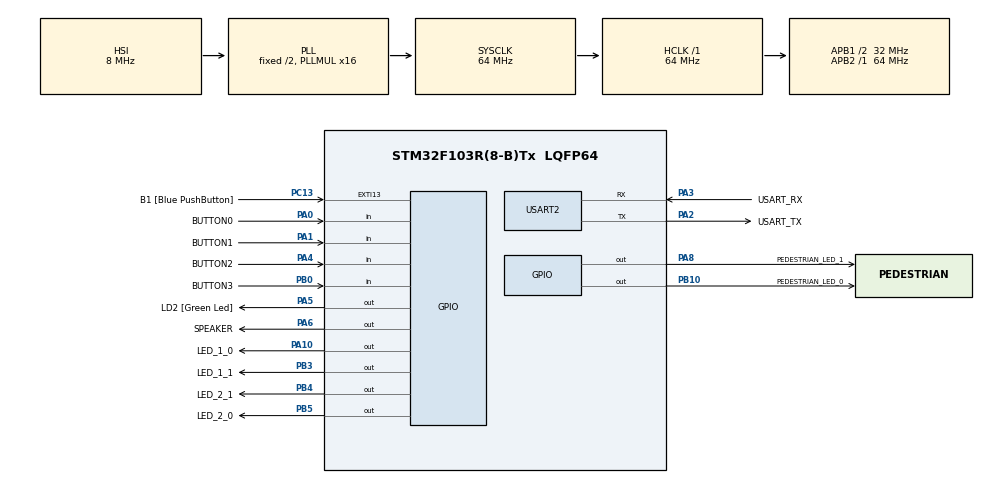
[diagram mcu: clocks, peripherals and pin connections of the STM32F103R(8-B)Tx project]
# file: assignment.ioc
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Mcu.Family=STM32F1
Mcu.Name=STM32F103R(8-B)Tx
Mcu.Package=LQFP64
NVIC.EXTI15_10_IRQn=true\:0\:0\:false\:false\:true\:true\:true\:true
NVIC.PriorityGroup=NVIC_PRIORITYGROUP_4
NVIC.TIM2_IRQn=true\:0\:0\:false\:false\:true\:true\:true\:true
NVIC.USART2_IRQn=true\:0\:0\:false\:false\:true\:true\:true\:true
PA0-WKUP.GPIO_Label=BUTTON0
PA0-WKUP.GPIO_PuPd=GPIO_PULLUP
PA0-WKUP.Signal=GPIO_Input
PA1.GPIO_Label=BUTTON1
PA1.GPIO_PuPd=GPIO_PULLUP
PA1.Signal=GPIO_Input
PA10.GPIO_Label=LED_1_0
PA10.Signal=GPIO_Output
PA13.GPIO_Label=TMS
PA13.Mode=Serial_Wire
PA13.Signal=SYS_JTMS-SWDIO
PA14.GPIO_Label=TCK
PA14.Mode=Serial_Wire
PA14.Signal=SYS_JTCK-SWCLK
PA2.GPIO_Label=USART_TX
PA2.GPIO_Mode=GPIO_MODE_AF_PP
PA2.GPIO_PuPd=GPIO_NOPULL
PA2.GPIO_Speed=GPIO_SPEED_FREQ_LOW
PA2.Mode=Asynchronous
PA2.Signal=USART2_TX
PA3.GPIO_Label=USART_RX
PA3.GPIO_Mode=GPIO_MODE_AF_PP
PA3.GPIO_PuPd=GPIO_NOPULL
PA3.GPIO_Speed=GPIO_SPEED_FREQ_LOW
PA3.Mode=Asynchronous
PA3.Signal=USART2_RX
PA4.GPIO_Label=BUTTON2
PA4.GPIO_PuPd=GPIO_PULLUP
PA4.Signal=GPIO_Input
PA5.GPIO_Label=LD2 [Green Led]
PA5.GPIO_ModeDefaultOutputPP=GPIO_MODE_OUTPUT_PP
PA5.GPIO_PuPd=GPIO_NOPULL
PA5.GPIO_Speed=GPIO_SPEED_FREQ_LOW
PA5.Signal=GPIO_Output
PA6.GPIO_Label=SPEAKER
PA6.Signal=GPIO_Output
PA8.GPIO_Label=PEDESTRIAN_LED_1
PA8.Signal=GPIO_Output
PB0.GPIO_Label=BUTTON3
PB0.GPIO_PuPd=GPIO_PULLUP
PB0.Signal=GPIO_Input
PB10.GPIO_Label=PEDESTRIAN_LED_0
PB10.Signal=GPIO_Output
PB3.GPIO_Label=LED_1_1
PB3.Signal=GPIO_Output
PB4.GPIO_Label=LED_2_1
PB4.Signal=GPIO_Output
PB5.GPIO_Label=LED_2_0
PB5.Signal=GPIO_Output
PC13-TAMPER-RTC.GPIO_Label=B1 [Blue PushButton]
PC13-TAMPER-RTC.GPIO_PuPd=GPIO_NOPULL
PC13-TAMPER-RTC.Signal=GPXTI13
PC14-OSC32_IN.Mode=LSE-External-Oscillator
PC14-OSC32_IN.Signal=RCC_OSC32_IN
PC15-OSC32_OUT.Mode=LSE-External-Oscillator
PC15-OSC32_OUT.Signal=RCC_OSC32_OUT
PD0-OSC_IN.Mode=HSE-External-Clock-Source
PD0-OSC_IN.Signal=RCC_OSC_IN
PD1-OSC_OUT.Mode=HSE-External-Clock-Source
PD1-OSC_OUT.Signal=RCC_OSC_OUT
ProjectManager.HeapSize=0x200
ProjectManager.StackSize=0x400
ProjectManager.TargetToolchain=STM32CubeIDE
RCC.AHBFreq_Value=64000000
RCC.APB1CLKDivider=RCC_HCLK_DIV2
RCC.APB1Freq_Value=32000000
RCC.APB1TimFreq_Value=64000000
RCC.APB2Freq_Value=64000000
RCC.APB2TimFreq_Value=64000000
RCC.HCLKFreq_Value=64000000
RCC.PLLMUL=RCC_PLL_MUL16
RCC.RTCClockSelection=RCC_RTCCLKSOURCE_LSE
RCC.SYSCLKFreq_VALUE=64000000
RCC.SYSCLKSource=RCC_SYSCLKSOURCE_PLLCLK
RCC.USBFreq_Value=64000000
TIM2.Period=9
TIM2.Prescaler=7999
USART2.VirtualMode=VM_ASYNC
VP_TIM2_VS_ClockSourceINT.Mode=Internal
VP_TIM3_VS_OPM.Mode=OPM_bit
board=NUCLEO-F103RB

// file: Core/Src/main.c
/* USER CODE BEGIN Header */

/**
  ******************************************************************************
  * @file           : main.c
  * @brief          : Main program body
  ******************************************************************************
  * @attention
  *
  * Copyright (c) 2022 STMicroelectronics.
  * All rights reserved.
  *
  * This software is licensed under terms that can be found in the LICENSE file
  * in the root directory of this software component.
  * If no LICENSE file comes with this software, it is provided AS-IS.
  *
  ******************************************************************************
  */
/* USER CODE END Header */
#include "main.h"
#include "tim.h"
#include "usart.h"
#include "gpio.h"

/* USER CODE BEGIN Includes */
#include "global.h"

#include "Button_software.h"
#include "Software_timer.h"
#include "Light_controller.h"
#include <stdio.h>
/* USER CODE END Includes */

/* USER CODE BEGIN PV */
const int red_time_reset = RED_TIME_RESET;
const int green_time_reset = GREEN_TIME_RESET;
const int yellow_time_reset = YELLOW_TIME_RESET;

int RED_TIME  =	RED_TIME_RESET;
int GREEN_TIME = GREEN_TIME_RESET;
int YELLOW_TIME = YELLOW_TIME_RESET;

int isYellow = 0;

uint8_t tuneBlinkOn = 1;
#define BLINK 6
const int oneSec = timer_prop*1;
const int ledRefreshTime = timer_prop*0.5;
PEDES_MODE STATUS_PEDES = PEDES_RESET;

//int red_time = RED_TIME*timer_prop;
//int green_time = GREEN_TIME*timer_prop;
//int yellow_time = YELLOW_TIME*timer_prop;

int light_blink_time = LIGHT_BLINK_TIME*timer_prop;
int pedes_blink_time = PEDES_BLINK_TIME*timer_prop;
int pedes_time_out = PEDES_TIME_OUT * timer_prop;
int pedes_state;
int countdown_0 = RED_TIME_RESET;
int countdown_1 = GREEN_TIME_RESET;

int flag = 0;
/* USER CODE END PV */

void SystemClock_Config(void);

/* USER CODE BEGIN 0 */
STATE status = INIT_1;
TRAFFIC_MODE mode = MODE_AUTO;

void UARTOutput(int inpNum){
	char str[50];
	int nChar = sprintf(str, "!Countdown: %d#\r\n", inpNum);
	HAL_UART_Transmit(&huart2, (uint8_t *)str, nChar, 1000);
}

int buzzerCounter = 0;

void HAL_TIM_PeriodElapsedCallback(TIM_HandleTypeDef *htim){
	button_reading();
	for (int i = 0 ; i < TIMER_LIMIT; i++){
		timerRun(i);
	}

	if (buzzerOn == 1){
		if (buzzerCounter < 500){
			buzzer_turn_off();
			buzzerCounter++;
		}
		else
		{
			buzzer_turn_on();
			buzzerCounter++;
			if (buzzerCounter >= 600)
				buzzerCounter = 0;
		}
	}
	else{
		buzzer_turn_off();
		buzzerCounter = 0;
	}

}

void redManualRun(){
	turnOnRed(0);
	if (isYellow == 0)
		turnOnGreen(1);
	else
		turnOnYellow(1);
}

void redTuningRun(){
	if (tuneBlinkOn == 1){
		turnOnRed(0);
		turnOnRed(1);
	}
	else if (tuneBlinkOn == 0 && timer_flag[TUNE_BLINK_TIMER] == 1){
		timer_flag[TUNE_BLINK_TIMER] = 0;
		tuneBlinkOn = 1;
	}

	if (is_button_pressed(TUNING_BUTTON) == 1){
		tuneBlinkOn = 0;
		setTimer(0.1*timer_prop, TUNE_BLINK_TIMER);
		turnOffAll();

		RED_TIME = ((RED_TIME <= RED_MAX_COUNTDOWN) ? RED_TIME+1 : RED_MIN_COUNTDOWN);
		GREEN_TIME = RED_TIME - YELLOW_TIME;

		UARTOutput(RED_TIME);
	}
}

void greenManualRun(){
	turnOnGreen(0);
	turnOnRed(1);
}

void greenTuningRun(){
	if (tuneBlinkOn == 1){
		turnOnGreen(0);
		turnOnGreen(1);
	}
	else if (tuneBlinkOn == 0 && timer_flag[TUNE_BLINK_TIMER] == 1){
		timer_flag[TUNE_BLINK_TIMER] = 0;
		tuneBlinkOn = 1;
	}

	if (is_button_pressed(TUNING_BUTTON) == 1){
		tuneBlinkOn = 0;
		setTimer(0.1*timer_prop, TUNE_BLINK_TIMER);
		turnOffAll();

		GREEN_TIME = ((GREEN_TIME < GREEN_MAX_COUNTDOWN) ? GREEN_TIME+1 : GREEN_MIN_COUNTDOWN);
		RED_TIME = GREEN_TIME + YELLOW_TIME;

		UARTOutput(GREEN_TIME);
	}
}

void yellowManualRun(){
	turnOnYellow(0);
	turnOnRed(1);
}

void redAutoRun(){
	turnOnRed(0);
	if (countdown_1 <= 0 && isYellow == 0){
		isYellow = 1;
		countdown_1 = YELLOW_TIME;
		turnOnYellow(1);
	}
	else if (isYellow == 0){
		turnOnGreen(1);
	}

	if (countdown_0 <= 0){
		status = GREEN_AUTO;
		countdown_0 = GREEN_TIME;
		countdown_1 = RED_TIME;
	}
}

void greenAutoRun(){
	turnOnGreen(0);
	turnOnRed(1);
	if (countdown_0 <= 0){
		status = YELLOW_AUTO;
		countdown_0 = YELLOW_TIME;
		countdown_1 = RED_TIME - GREEN_TIME;
	}
}

void yellowAutoRun(){
	turnOnYellow(0);
	turnOnRed(1);
	if (countdown_0 <= 0 && countdown_1 <= 0){
		status = RED_AUTO;
		countdown_0 = RED_TIME;
		countdown_1 = GREEN_TIME;
		isYellow = 0;
	}
}
void blinkyLight(enum StateLight currentState){
	if(timer_flag[BLINK]){
		if(blink){
			turnOffAll();
			blink = 0;
		}
		else{
			redAutoRun();
			greenAutoRun();
//			turnOnLight(currentState,HOR);
			blink = 1;
		}
		setTimer(BLINK,200);
	}
}
/* USER CODE END 0 */

int main(void)
{

  /* MCU Configuration--------------------------------------------------------*/

  /* Reset of all peripherals, Initializes the Flash interface and the Systick. */
  HAL_Init();

  /* Configure the system clock */
  SystemClock_Config();

  /* Initialize all configured peripherals */
  MX_GPIO_Init();
  MX_USART2_UART_Init();
  MX_TIM2_Init();
  MX_TIM3_Init();
  /* USER CODE BEGIN 2 */
  setTimer(oneSec, COUNTDOWN_TIMER);
  HAL_TIM_Base_Start_IT(&htim2);
  HAL_TIM_PWM_Start(&htim3, TIM_CHANNEL_1);
  status = INIT_1;
  /* USER CODE END 2 */

  /* Infinite loop */
  /* USER CODE BEGIN WHILE */

  while (1)
  {
	 /*
	  * -------------- FSM ----------------
	  */

	  switch(status){
		  case (INIT_1):
			mode = MODE_AUTO;
			status = RED_AUTO;
			countdown_0 = RED_TIME;
			countdown_1 = GREEN_TIME;
			isYellow = 0;
			break;

		  case (RED_AUTO):
			redAutoRun();
		    // State transition auto->manual
		  	if (is_button_pressed(STATE_CHANGE_BUTTON) == 1){
		  		mode = MODE_MANUAL;
		  		status = RED_MAN;
		  		countdown_0 = RED_TIME;
		  		countdown_1 = 2;
		  		turnOffAll();
		  		isYellow = 0;
		  	}
			break;

		  case (GREEN_AUTO):
			greenAutoRun();

			// State transition auto->manual
			if (is_button_pressed(STATE_CHANGE_BUTTON) == 1){
				mode = MODE_MANUAL;
				status = RED_MAN;
				countdown_0 = RED_TIME;
				countdown_1 = 2;
				turnOffAll();
				isYellow = 0;
			}
			break;

		  case (YELLOW_AUTO):
			yellowAutoRun();

			// State transition auto->manual
			if (is_button_pressed(STATE_CHANGE_BUTTON) == 1){
				mode = MODE_MANUAL;
				status = RED_MAN;
				turnOffAll();
				isYellow = 0;
			}
			break;

		  case(RED_MAN):
			redManualRun();

			// State transition red_man -> green_man
			if (is_button_pressed(INSIDE_STATE_CHANGE_BUTTON) == 1){
				if (isYellow == 0){
					isYellow = 1;
				}
				else{
					mode = MODE_MANUAL;
					status = GREEN_MAN;
					turnOffAll();
				}
			}
			else if (is_button_pressed(STATE_CHANGE_BUTTON) == 1){
				mode = MODE_TUNING;
				status = RED_TUNING;
				turnOffAll();
			}

			break;

		  case(GREEN_MAN):
			greenManualRun();

		  	// State transition green_man -> yellow_man
		  	if (is_button_pressed(INSIDE_STATE_CHANGE_BUTTON) == 1){
		  		mode = MODE_MANUAL;
		  		status = YELLOW_MAN;
		  		turnOffAll();
		  	}
			else if (is_button_pressed(STATE_CHANGE_BUTTON) == 1){
				mode = MODE_TUNING;
				status = RED_TUNING;
				turnOffAll();
			}
			break;

		  case(YELLOW_MAN):
			yellowManualRun();
			// State transition green_man -> yellow_man
			if (is_button_pressed(INSIDE_STATE_CHANGE_BUTTON) == 1){
				mode = MODE_MANUAL;
				status = RED_MAN;
				isYellow = 0;
				turnOffAll();
			}
			else if (is_button_pressed(STATE_CHANGE_BUTTON) == 1){
				mode = MODE_TUNING;
				status = RED_TUNING;
				turnOffAll();
			}
			break;

		  case(RED_TUNING):
			redTuningRun();
		    if (is_button_pressed(INSIDE_STATE_CHANGE_BUTTON)){
		    	mode = MODE_TUNING;
		    	status = GREEN_TUNING;
		    }
		    else if (is_button_pressed(STATE_CHANGE_BUTTON)){
		    	mode = MODE_AUTO;
		    	status = INIT_1;
		    }
			break;

		  case(GREEN_TUNING):
			greenTuningRun();
		  	if (is_button_pressed(INSIDE_STATE_CHANGE_BUTTON)){
				mode = MODE_TUNING;
				status = RED_TUNING;
			}
		  	else if (is_button_pressed(STATE_CHANGE_BUTTON)){
				mode = MODE_AUTO;
				status = INIT_1;
			}
			break;

		  default:
			// status = INIT_1;
			break;
	  }

	  /*
	   * ---------------- PEDESTRIAN LIGHT FSM -----------------
	   */
	  switch(STATUS_PEDES){
		  case PEDES_RESET:
			  clearPedes();
			  STATUS_PEDES = PEDES_OFF;
			  break;

		  case PEDES_OFF:
			  clearPedes();
			  if(is_button_pressed(PEDES_BUTTON)){
				  STATUS_PEDES = PEDES_ON;
				  pedes_state = PEDES_INIT;
				  setTimer(pedes_time_out, TIMER_PD);
			  }
			  break;

		  case PEDES_ON:
			  switch(pedes_state){
				  case PEDES_INIT:
					  if (status == RED_MAN ||status == RED_AUTO || status == RED_TUNING)
						  pedes_state = PEDES_GREEN;
					  else
						  pedes_state = PEDES_RED;
					  break;

				  case PEDES_RED:
					turnOnPedes(LED_PEDES_RED);

					if (status == RED_MAN ||status == RED_AUTO || status == RED_TUNING)
						pedes_state = PEDES_GREEN;
					else
						pedes_state = PEDES_RED;

					if(is_button_pressed(PEDES_BUTTON)){
						setTimer(pedes_time_out, TIMER_PD);
					}
					break;

				  case PEDES_GREEN:
					turnOnPedes(LED_PEDES_GREEN);

					if (status == RED_MAN ||status == RED_AUTO || status == RED_TUNING)
						pedes_state = PEDES_GREEN;
					else
						pedes_state = PEDES_RED;

					if(is_button_pressed(PEDES_BUTTON)){
						setTimer(pedes_time_out, TIMER_PD);
					}
					break;

				  default:
					pedes_state = PEDES_INIT;
					break;
			  }
			  break;

		  default:
			  STATUS_PEDES = PEDES_RESET;
			  break;
	  }

	  if (timer_flag[TIMER_PD] == 1 && STATUS_PEDES == PEDES_ON) {
		  STATUS_PEDES = PEDES_RESET;
	  }
	  /*
	   * -------------- TIMER THING ----------------
	   */
	  if (mode == MODE_AUTO){
		  if (timer_flag[COUNTDOWN_TIMER] == 1){
			  setTimer(oneSec,COUNTDOWN_TIMER);
			  countdown_0--;
			  countdown_1--;
		  }
	  }
	  else{

	  }
    /* USER CODE END WHILE */

  }
}

void SystemClock_Config(void)
{
  RCC_OscInitTypeDef RCC_OscInitStruct = {0};
  RCC_ClkInitTypeDef RCC_ClkInitStruct = {0};

  /** Initializes the RCC Oscillators according to the specified parameters
  * in the RCC_OscInitTypeDef structure.
  */
  RCC_OscInitStruct.OscillatorType = RCC_OSCILLATORTYPE_HSI;
  RCC_OscInitStruct.HSIState = RCC_HSI_ON;
  RCC_OscInitStruct.HSICalibrationValue = RCC_HSICALIBRATION_DEFAULT;
  RCC_OscInitStruct.PLL.PLLState = RCC_PLL_ON;
  RCC_OscInitStruct.PLL.PLLSource = RCC_PLLSOURCE_HSI_DIV2;
  RCC_OscInitStruct.PLL.PLLMUL = RCC_PLL_MUL16;
  if (HAL_RCC_OscConfig(&RCC_OscInitStruct) != HAL_OK)
  {
    Error_Handler();
  }

  /** Initializes the CPU, AHB and APB buses clocks
  */
  RCC_ClkInitStruct.ClockType = RCC_CLOCKTYPE_HCLK|RCC_CLOCKTYPE_SYSCLK
                              |RCC_CLOCKTYPE_PCLK1|RCC_CLOCKTYPE_PCLK2;
  RCC_ClkInitStruct.SYSCLKSource = RCC_SYSCLKSOURCE_PLLCLK;
  RCC_ClkInitStruct.AHBCLKDivider = RCC_SYSCLK_DIV1;
  RCC_ClkInitStruct.APB1CLKDivider = RCC_HCLK_DIV2;
  RCC_ClkInitStruct.APB2CLKDivider = RCC_HCLK_DIV1;

  if (HAL_RCC_ClockConfig(&RCC_ClkInitStruct, FLASH_LATENCY_2) != HAL_OK)
  {
    Error_Handler();
  }
}

void Error_Handler(void)
{
  __disable_irq();
  while (1)
  {
  }
}
